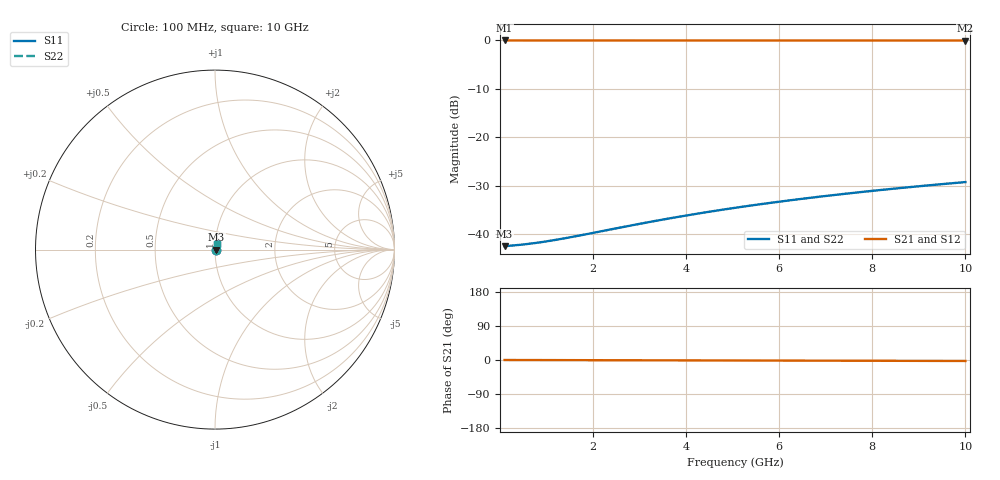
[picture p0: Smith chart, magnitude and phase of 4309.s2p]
# Hz S RI R 50.00
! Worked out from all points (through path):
!   100 points, 100 MHz to 10 GHz, reference 50 ohm
!   highest |S21| = -0.07 dB at 100 MHz (marker M1); lowest = -0.1 dB at 10 GHz (marker M2)
!   lowest |S11| = -42.5 dB at 100 MHz (marker M3), VSWR 1.02, Z = 50.8 + j0.0336 ohm
!   |S11| at or under -10 dB: start of sweep to end of sweep
!   |S22| runs from -42.5 to -29.3 dB; largest |S21 - S12| = 0
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1e8  0.0075 0.000331  0.9925 -0.000442  0.9925 -0.000442  0.0075 0.000331
3e8  0.00759 0.000991  0.9924 -0.00133  0.9924 -0.00133  0.00759 0.000991
5e8  0.00764 0.00165  0.9924 -0.00221  0.9924 -0.00221  0.00764 0.00165
7e8  0.00768 0.00231  0.9923 -0.00309  0.9923 -0.00309  0.00768 0.00231
9e8  0.00772 0.00297  0.9923 -0.00398  0.9923 -0.00398  0.00772 0.00297
1.1e9  0.00775 0.00363  0.9922 -0.00486  0.9922 -0.00486  0.00775 0.00363
1.3e9  0.00779 0.00429  0.9922 -0.00575  0.9922 -0.00575  0.00779 0.00429
1.8e9  0.00786 0.00595  0.9921 -0.00795  0.9921 -0.00795  0.00786 0.00595
2.8e9  0.008 0.00925  0.992 -0.0124  0.992 -0.0124  0.008 0.00925
3.4e9  0.00809 0.0112  0.9919 -0.015  0.9919 -0.015  0.00809 0.0112
3.8e9  0.00815 0.0125  0.9918 -0.0168  0.9918 -0.0168  0.00815 0.0125
4.2e9  0.00822 0.0139  0.9918 -0.0186  0.9918 -0.0186  0.00822 0.0139
4.6e9  0.00829 0.0152  0.9917 -0.0203  0.9917 -0.0203  0.00829 0.0152
5.1e9  0.00838 0.0168  0.9916 -0.0225  0.9916 -0.0225  0.00838 0.0168
5.5e9  0.00846 0.0182  0.9915 -0.0243  0.9915 -0.0243  0.00846 0.0182
5.9e9  0.00854 0.0195  0.9914 -0.0261  0.9914 -0.0261  0.00854 0.0195
6.3e9  0.00862 0.0208  0.9913 -0.0278  0.9913 -0.0278  0.00862 0.0208
6.7e9  0.00871 0.0221  0.9913 -0.0296  0.9913 -0.0296  0.00871 0.0221
7.5e9  0.00891 0.0248  0.991 -0.0331  0.991 -0.0331  0.00891 0.0248
8.4e9  0.00914 0.0277  0.9908 -0.0371  0.9908 -0.0371  0.00914 0.0277
9.2e9  0.00938 0.0304  0.9906 -0.0407  0.9906 -0.0407  0.00938 0.0304
1e10  0.00963 0.033  0.9903 -0.0442  0.9903 -0.0442  0.00963 0.033
